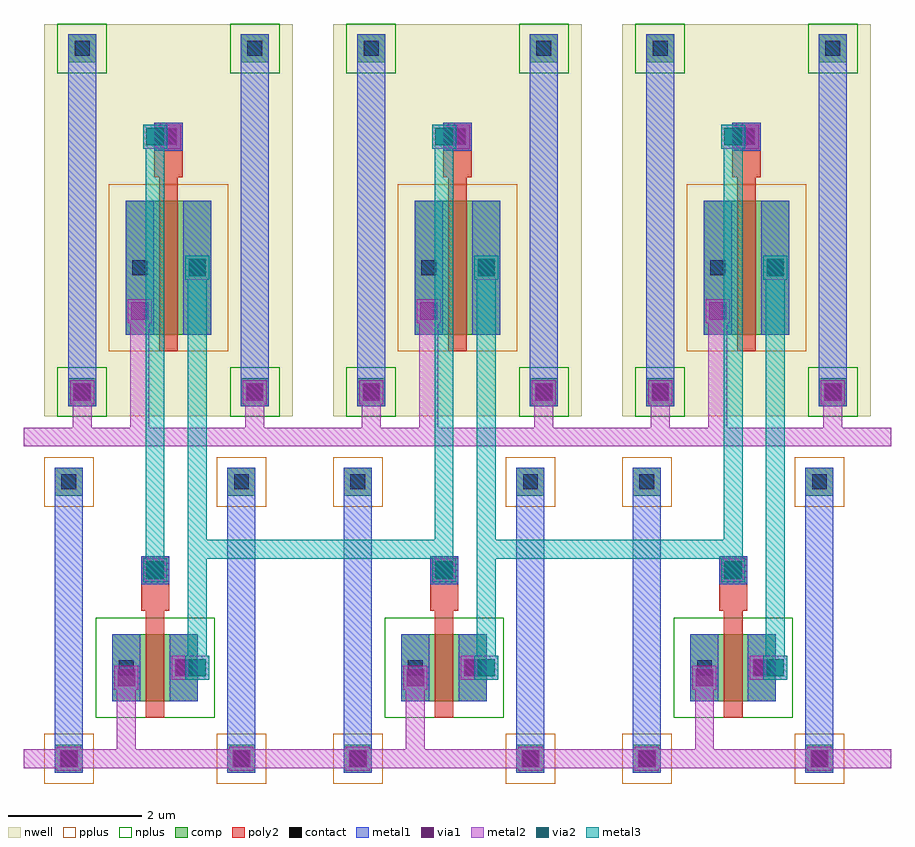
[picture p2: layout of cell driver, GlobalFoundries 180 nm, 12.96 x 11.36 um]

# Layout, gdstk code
import gdstk
lib = gdstk.Library(unit=1e-6, precision=5e-10)
def R(c, l, rs):  # rectangles x0, y0, x1, y1
    for r in rs: c.add(gdstk.rectangle(r[:2], r[2:], *l))
def A(c, l, x, y, w, h, nx, ny, dx, dy):  # array of equal rectangles
    R(c, l, [(x+i*dx, y+j*dy, x+i*dx+w, y+j*dy+h) for i in range(nx) for j in range(ny)])
nwell = (21, 0)
comp = (22, 0)
poly2 = (30, 0)
pplus = (31, 0)
nplus = (32, 0)
contact = (33, 0)
metal1 = (34, 0)
via1 = (35, 0)
metal2 = (36, 0)
via2 = (38, 0)
metal3 = (42, 0)

prim_drvn = lib.new_cell('prim_drvn')
R(prim_drvn, comp, [(-0.86,-1.07,-0.44,-0.65), (1.72,-1.07,2.14,-0.65), (0,0,1.28,1), (-0.86,3.07,-0.44,3.49), (1.72,3.07,2.14,3.49)])
R(prim_drvn, poly2, [(0.5,-0.25,0.78,1), (0.5,1,0.78,1.35), (0.43,1.35,0.85,2.17)])
R(prim_drvn, pplus, [(-1.02,-1.23,-0.28,-0.49), (1.56,-1.23,2.3,-0.49), (-1.02,2.91,-0.28,3.65), (1.56,2.91,2.3,3.65)])
R(prim_drvn, nplus, [(-0.25,-0.25,1.53,1.25)])
R(prim_drvn, contact, [(-0.76,-0.97,-0.54,-0.75), (1.82,-0.97,2.04,-0.75), (0.1,0.39,0.32,0.61), (0.96,0.39,1.18,0.61), (0.53,1.85,0.75,2.07), (-0.76,3.17,-0.54,3.39), (1.82,3.17,2.04,3.39)])
R(prim_drvn, metal1, [(-0.86,-1.07,-0.44,-0.65), (1.72,-1.07,2.14,-0.65), (0,0,0.42,1), (0.86,0,1.28,1), (0.43,1.75,0.85,2.17), (-0.86,3.07,-0.44,3.49), (1.72,3.07,2.14,3.49)])

prim_drvp = lib.new_cell('prim_drvp')
R(prim_drvp, nwell, [(-1.22,-1.22,2.5,4.64), (-0.15,-0.15,1.43,3.57)])
R(prim_drvp, comp, [(-0.86,-1.07,-0.44,-0.65), (1.72,-1.07,2.14,-0.65), (0,0,1.28,2), (-0.86,4.07,-0.44,4.49), (1.72,4.07,2.14,4.49)])
R(prim_drvp, poly2, [(0.5,-0.25,0.78,2), (0.5,2,0.78,2.35), (0.43,2.35,0.85,3.17)])
R(prim_drvp, pplus, [(-0.25,-0.25,1.53,2.25)])
R(prim_drvp, nplus, [(-1.02,-1.23,-0.28,-0.49), (1.56,-1.23,2.3,-0.49), (-1.02,3.91,-0.28,4.65), (1.56,3.91,2.3,4.65)])
R(prim_drvp, contact, [(-0.76,-0.97,-0.54,-0.75), (1.82,-0.97,2.04,-0.75), (0.1,0.89,0.32,1.11), (0.96,0.89,1.18,1.11), (0.53,2.85,0.75,3.07), (-0.76,4.17,-0.54,4.39), (1.82,4.17,2.04,4.39)])
R(prim_drvp, metal1, [(-0.86,-1.07,-0.44,-0.65), (1.72,-1.07,2.14,-0.65), (0,0,0.42,2), (0.86,0,1.28,2), (0.43,2.75,0.85,3.17), (-0.86,4.07,-0.44,4.49), (1.72,4.07,2.14,4.49)])

driver = lib.new_cell('driver')
R(driver, metal1, [(0.16,0.16,0.58,4.72), (2.74,0.16,3.16,4.72), (4.48,0.16,4.9,4.72), (7.06,0.16,7.48,4.72), (8.8,0.16,9.22,4.72), (11.38,0.16,11.8,4.72), (0.36,5.64,0.78,11.2), (2.94,5.64,3.36,11.2), (4.68,5.64,5.1,11.2), (7.26,5.64,7.68,11.2), (9,5.64,9.42,11.2), (11.58,5.64,12,11.2)])
A(driver, via1, 1.1, 1.45, 0.26, 0.26, 3, 1, 4.32, 0)
A(driver, via1, 1.96, 1.6, 0.26, 0.26, 3, 1, 4.32, 0)
A(driver, via1, 1.53, 3.06, 0.26, 0.26, 3, 1, 4.32, 0)
A(driver, via1, 1.3, 6.93, 0.26, 0.26, 3, 1, 4.32, 0)
A(driver, via1, 2.16, 7.58, 0.26, 0.26, 3, 1, 4.32, 0)
A(driver, via1, 1.73, 9.54, 0.26, 0.26, 3, 1, 4.32, 0)
R(driver, via1, [(0.24,0.24,0.5,0.5), (2.82,0.24,3.08,0.5), (4.56,0.24,4.82,0.5), (7.14,0.24,7.4,0.5), (8.88,0.24,9.14,0.5), (11.46,0.24,11.72,0.5), (0.44,5.72,0.7,5.98), (3.02,5.72,3.28,5.98), (4.76,5.72,5.02,5.98), (7.34,5.72,7.6,5.98), (9.08,5.72,9.34,5.98), (11.66,5.72,11.92,5.98)])
A(driver, metal2, 1.09, 0.37, 0.28, 1.21, 3, 1, 4.32, 0)
A(driver, metal2, 1.05, 1.4, 0.36, 0.36, 3, 1, 4.32, 0)
A(driver, metal2, 2.09, 1.59, 0.2, 0.28, 3, 1, 4.32, 0)
A(driver, metal2, 1.48, 3.01, 0.36, 0.36, 3, 1, 4.32, 0)
A(driver, metal2, 1.29, 5.18, 0.28, 1.88, 3, 1, 4.32, 0)
A(driver, metal2, 1.25, 6.88, 0.36, 0.36, 3, 1, 4.32, 0)
A(driver, metal2, 2.11, 7.53, 0.36, 0.36, 3, 1, 4.32, 0)
A(driver, metal2, 1.66, 9.53, 0.2, 0.28, 3, 1, 4.32, 0)
R(driver, metal2, [(0.19,0.19,0.55,0.55), (2.77,0.19,3.13,0.55), (4.51,0.19,4.87,0.55), (7.09,0.19,7.45,0.55), (8.83,0.19,9.19,0.55), (11.41,0.19,11.77,0.55), (-0.3,0.23,12.66,0.51), (1.91,1.55,2.27,1.91), (2.11,1.55,2.47,1.91), (6.23,1.55,6.59,1.91), (6.43,1.55,6.79,1.91), (10.55,1.55,10.91,1.91), (10.75,1.55,11.11,1.91), (-0.3,5.04,12.66,5.32), (0.43,5.18,0.71,5.85), (3.01,5.18,3.29,5.85), (4.75,5.18,5.03,5.85), (7.33,5.18,7.61,5.85), (9.07,5.18,9.35,5.85), (11.65,5.18,11.93,5.85), (0.39,5.67,0.75,6.03), (2.97,5.67,3.33,6.03), (4.71,5.67,5.07,6.03), (7.29,5.67,7.65,6.03), (9.03,5.67,9.39,6.03), (11.61,5.67,11.97,6.03), (1.48,9.49,1.84,9.85), (1.68,9.49,2.04,9.85), (5.8,9.49,6.16,9.85), (6,9.49,6.36,9.85), (10.12,9.49,10.48,9.85), (10.32,9.49,10.68,9.85)])
A(driver, via2, 2.16, 1.6, 0.26, 0.26, 3, 2, 4.32, 5.98)
A(driver, via2, 1.53, 3.06, 0.26, 0.26, 3, 2, 4.32, 6.48)
A(driver, metal3, 2.11, 1.55, 0.36, 0.36, 3, 2, 4.32, 5.98)
A(driver, metal3, 2.15, 1.73, 0.28, 5.98, 3, 1, 4.32, 0)
A(driver, metal3, 1.48, 3.01, 0.36, 0.36, 3, 2, 4.32, 6.48)
A(driver, metal3, 1.52, 3.19, 0.28, 6.48, 3, 1, 4.32, 0)
R(driver, metal3, [(2.29,3.36,5.98,3.64), (6.61,3.36,10.3,3.64)])
driver.add(gdstk.Reference(prim_drvn, (1.02,1.23)))
driver.add(gdstk.Reference(prim_drvp, (1.22,6.71)))
driver.add(gdstk.Reference(prim_drvn, (5.34,1.23)))
driver.add(gdstk.Reference(prim_drvp, (5.54,6.71)))
driver.add(gdstk.Reference(prim_drvn, (9.66,1.23)))
driver.add(gdstk.Reference(prim_drvp, (9.86,6.71)))

lib.write_gds('driver.gds')
